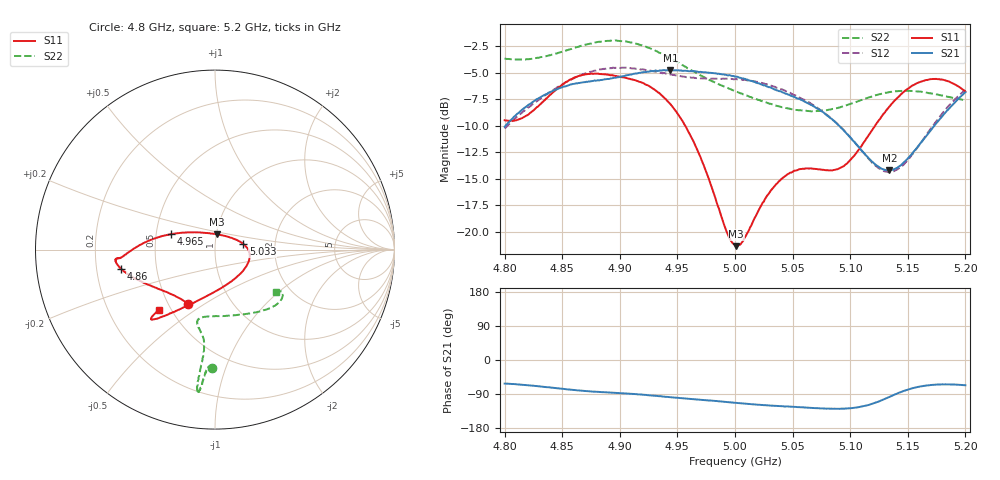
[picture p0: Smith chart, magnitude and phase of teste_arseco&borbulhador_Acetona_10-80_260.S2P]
! Network Analyzer HP8722D
! Hewlett-Packard
! Data name: Linha & Wilkinson
! Saver's name: Rodrigo Anjos
! Comments: Teste da utilização de aquisição
! continua pelo VNA HP8722D
! Time and date: 17/4/2025 16:31
!  Frequency  S11  S21  S12  S22
# HZ  S  MA R 50
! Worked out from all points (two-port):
!   401 points, 4.8 GHz to 5.2 GHz, reference 50 ohm
!   highest |S21| = -4.73 dB at 4.944 GHz (marker M1); lowest = -14.2 dB at 5.134 GHz (marker M2)
!   |S21| within 3 dB of the highest: 4.825 GHz to 5.061 GHz (236.1 MHz wide, 4.78 % of centre); 5.191362 GHz to end of sweep
!   lowest |S11| = -21.4 dB at 5.001 GHz (marker M3), VSWR 1.19, Z = 50.4 + j8.59 ohm
!   |S11| at or under -10 dB: 4.957 GHz to 5.122 GHz (164.7 MHz wide, 3.27 % of centre)
!   |S22| runs from -8.6 to -1.9 dB; largest |S21 - S12| = 0.87
!   S11 on the Smith chart (normalised r, x): 4.8 GHz: 0.63, -0.43; 4.86 GHz: 0.31, -0.09; 4.965 GHz: 0.60, +0.11; 5.033 GHz: 1.37, +0.09; 5.2 GHz: 0.43, -0.37
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4.8e9  0.336 -116.6  0.3131 -62.3  0.3073 -176.4  0.658 -91.3
4.819e9  0.3537 -136.8  0.3906 -66.3  0.3793 -175.9  0.6526 -92.9
4.86e9  0.5331 -168.2  0.499 -79.0  0.53 -179.2  0.7371 -95.2
4.867e9  0.5486 -170.8  0.5067 -81.2  0.5512 179.5  0.758 -95.5
4.898e9  0.5418 -174.8  0.5365 -86.8  0.5927 173.7  0.7984 -96.9
4.934e9  0.4531 179.4  0.5757 -95.6  0.567 170.2  0.7016 -97.2
4.944e9  0.4003 174.8  0.5801 -98.2  0.5529 170.4  0.6592 -96.9
4.965e9  0.2594 160.7  0.5741 -103.9  0.5323 172.2  0.5678 -96.2
4.993e9  0.09911 112.6  0.5495 -111.0  0.528 174.4  0.4789 -98.8
5e9  0.08654 86.1  0.5406 -112.8  0.5258 174.4  0.4615 -100.0
5.001e9  0.08537 82.3  0.5398 -113.1  0.5259 174.5  0.4599 -100.4
5.007e9  0.09022 59.5  0.5299 -114.7  0.5208 174.2  0.4456 -101.5
5.033e9  0.1609 11.3  0.4736 -120.6  0.4863 173.0  0.3991 -103.4
5.049e9  0.1903 -3.9  0.4374 -123.4  0.4488 172.6  0.3792 -99.0
5.067e9  0.1985 -23.2  0.3952 -126.3  0.3987 172.2  0.3707 -88.5
5.096e9  0.2077 -73.7  0.2947 -128.2  0.2952 174.7  0.3945 -66.1
5.121e9  0.3128 -111.0  0.2094 -113.8  0.2074 -168.7  0.4399 -49.5
5.134e9  0.3894 -121.0  0.1952 -97.5  0.1913 -150.5  0.4564 -43.3
5.147e9  0.4595 -126.9  0.2131 -81.2  0.2091 -131.6  0.4625 -38.4
5.168e9  0.5232 -131.8  0.2922 -67.0  0.2965 -113.1  0.4513 -33.4
5.184e9  0.5157 -133.1  0.3729 -64.4  0.385 -108.7  0.435 -32.3
5.2e9  0.4585 -133.0  0.4557 -66.7  0.4669 -108.7  0.4171 -34.9
